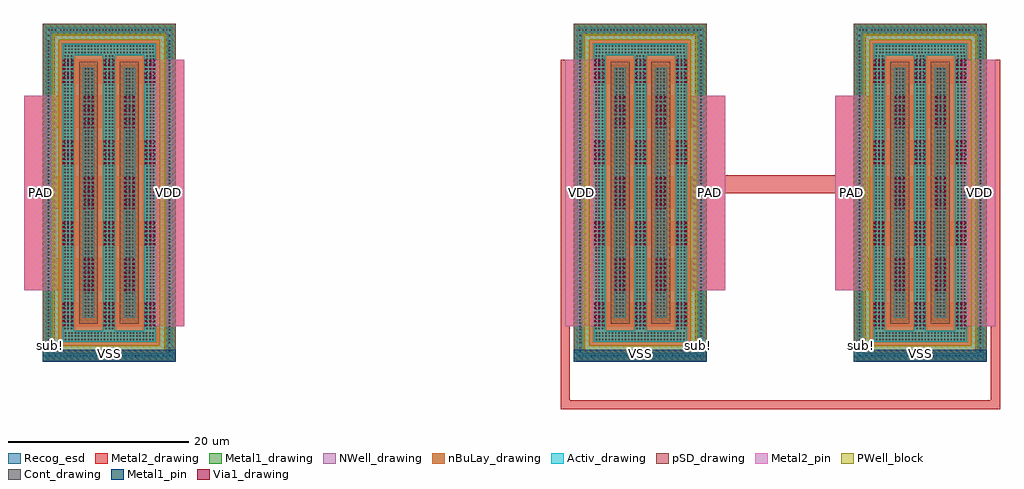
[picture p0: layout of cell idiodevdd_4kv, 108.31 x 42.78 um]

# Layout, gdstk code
import gdstk
lib = gdstk.Library(unit=1e-6, precision=1e-09)
def R(c, l, rs):  # rectangles x0, y0, x1, y1
    for r in rs: c.add(gdstk.rectangle(r[:2], r[2:], *l))
def A(c, l, x, y, w, h, nx, ny, dx, dy):  # array of equal rectangles
    R(c, l, [(x+i*dx, y+j*dy, x+i*dx+w, y+j*dy+h) for i in range(nx) for j in range(ny)])
def P(c, l, *ps):  # polygons
    for p in ps: c.add(gdstk.Polygon(p, *l))
Activ_drawing = (1, 0)
Cont_drawing = (6, 0)
Metal1_drawing = (8, 0)
Metal1_pin = (8, 2)
Metal2_drawing = (10, 0)
Metal2_pin = (10, 2)
pSD_drawing = (14, 0)
Via1_drawing = (19, 0)
NWell_drawing = (31, 0)
nBuLay_drawing = (32, 0)
PWell_block = (46, 21)
Recog_esd = (99, 30)

idiodevdd_4kv = lib.new_cell('idiodevdd_4kv')
R(idiodevdd_4kv, Activ_drawing, [(4.47,4.89,5.73,32.67), (9,4.89,10.26,32.67), (63.462,4.89,64.722,32.67), (67.992,4.89,69.252,32.67), (94.47,4.89,95.73,32.67), (99,4.89,100.26,32.67)])
P(idiodevdd_4kv, Activ_drawing, [(61.172,2.22),(61.172,35.31),(71.502,35.31),(71.502,3.48),(70.242,3.48),(70.242,34.05),(66.972,34.05),(66.972,3.48),(65.712,3.48),(65.712,34.05),(62.432,34.05),(62.432,3.48),(71.502,3.48),(71.502,2.22)],
  [(59.342,0.45),(59.342,37.08),(73.302,37.08),(73.302,0.93),(72.822,0.93),(72.822,36.6),(59.822,36.6),(59.822,0.93),(73.302,0.93),(73.302,0.45)],
  [(92.22,2.22),(92.22,3.48),(101.29,3.48),(101.29,34.05),(98.01,34.05),(98.01,3.48),(96.75,3.48),(96.75,34.05),(93.48,34.05),(93.48,3.48),(92.22,3.48),(92.22,35.31),(102.55,35.31),(102.55,2.22)],
  [(90.42,0.45),(90.42,0.93),(103.9,0.93),(103.9,36.6),(90.9,36.6),(90.9,0.93),(90.42,0.93),(90.42,37.08),(104.38,37.08),(104.38,0.45)],
  [(2.22,2.22),(2.22,3.48),(11.29,3.48),(11.29,34.05),(8.01,34.05),(8.01,3.48),(6.75,3.48),(6.75,34.05),(3.48,34.05),(3.48,3.48),(2.22,3.48),(2.22,35.31),(12.55,35.31),(12.55,2.22)],
  [(0.42,0.45),(0.42,0.93),(13.9,0.93),(13.9,36.6),(0.9,36.6),(0.9,0.93),(0.42,0.93),(0.42,37.08),(14.38,37.08),(14.38,0.45)])
A(idiodevdd_4kv, Cont_drawing, 0.62, 0.61, 0.16, 0.16, 3, 2, 0.36, 36.15)
A(idiodevdd_4kv, Cont_drawing, 1.94, 0.61, 0.16, 0.16, 31, 2, 0.36, 36.15)
A(idiodevdd_4kv, Cont_drawing, 13.34, 0.61, 0.16, 0.16, 3, 2, 0.36, 36.15)
A(idiodevdd_4kv, Cont_drawing, 59.502, 0.61, 0.16, 0.16, 3, 2, 0.36, 36.15)
A(idiodevdd_4kv, Cont_drawing, 60.822, 0.61, 0.16, 0.16, 31, 2, 0.36, 36.15)
A(idiodevdd_4kv, Cont_drawing, 72.222, 0.61, 0.16, 0.16, 3, 2, 0.36, 36.15)
A(idiodevdd_4kv, Cont_drawing, 90.62, 0.61, 0.16, 0.16, 3, 2, 0.36, 36.15)
A(idiodevdd_4kv, Cont_drawing, 91.94, 0.61, 0.16, 0.16, 31, 2, 0.36, 36.15)
A(idiodevdd_4kv, Cont_drawing, 103.34, 0.61, 0.16, 0.16, 3, 2, 0.36, 36.15)
A(idiodevdd_4kv, Cont_drawing, 0.58, 2.065, 0.16, 0.16, 1, 94, 0, 0.36)
A(idiodevdd_4kv, Cont_drawing, 14.02, 2.065, 0.16, 0.16, 1, 94, 0, 0.36)
A(idiodevdd_4kv, Cont_drawing, 59.542, 2.065, 0.16, 0.16, 1, 94, 0, 0.36)
A(idiodevdd_4kv, Cont_drawing, 72.982, 2.065, 0.16, 0.16, 1, 94, 0, 0.36)
A(idiodevdd_4kv, Cont_drawing, 90.58, 2.065, 0.16, 0.16, 1, 94, 0, 0.36)
A(idiodevdd_4kv, Cont_drawing, 104.02, 2.065, 0.16, 0.16, 1, 94, 0, 0.36)
A(idiodevdd_4kv, Cont_drawing, 2.475, 2.43, 0.16, 0.16, 28, 3, 0.36, 0.36)
A(idiodevdd_4kv, Cont_drawing, 61.367, 2.43, 0.16, 0.16, 28, 3, 0.36, 0.36)
A(idiodevdd_4kv, Cont_drawing, 92.475, 2.43, 0.16, 0.16, 28, 3, 0.36, 0.36)
A(idiodevdd_4kv, Cont_drawing, 2.405, 3.645, 0.16, 0.16, 3, 85, 0.36, 0.36)
A(idiodevdd_4kv, Cont_drawing, 6.965, 3.645, 0.16, 0.16, 3, 85, 0.36, 0.36)
A(idiodevdd_4kv, Cont_drawing, 11.525, 3.645, 0.16, 0.16, 3, 85, 0.36, 0.36)
A(idiodevdd_4kv, Cont_drawing, 61.317, 3.645, 0.16, 0.16, 3, 85, 0.36, 0.36)
A(idiodevdd_4kv, Cont_drawing, 65.877, 3.645, 0.16, 0.16, 3, 85, 0.36, 0.36)
A(idiodevdd_4kv, Cont_drawing, 70.437, 3.645, 0.16, 0.16, 3, 85, 0.36, 0.36)
A(idiodevdd_4kv, Cont_drawing, 92.405, 3.645, 0.16, 0.16, 3, 85, 0.36, 0.36)
A(idiodevdd_4kv, Cont_drawing, 96.965, 3.645, 0.16, 0.16, 3, 85, 0.36, 0.36)
A(idiodevdd_4kv, Cont_drawing, 101.525, 3.645, 0.16, 0.16, 3, 85, 0.36, 0.36)
A(idiodevdd_4kv, Cont_drawing, 4.68, 5.05, 0.16, 0.16, 3, 77, 0.36, 0.36)
A(idiodevdd_4kv, Cont_drawing, 9.21, 5.05, 0.16, 0.16, 3, 77, 0.36, 0.36)
A(idiodevdd_4kv, Cont_drawing, 63.632, 5.05, 0.16, 0.16, 3, 77, 0.36, 0.36)
A(idiodevdd_4kv, Cont_drawing, 68.162, 5.05, 0.16, 0.16, 3, 77, 0.36, 0.36)
A(idiodevdd_4kv, Cont_drawing, 94.68, 5.05, 0.16, 0.16, 3, 77, 0.36, 0.36)
A(idiodevdd_4kv, Cont_drawing, 99.21, 5.05, 0.16, 0.16, 3, 77, 0.36, 0.36)
A(idiodevdd_4kv, Cont_drawing, 2.475, 34.26, 0.16, 0.16, 28, 3, 0.36, 0.36)
A(idiodevdd_4kv, Cont_drawing, 61.367, 34.26, 0.16, 0.16, 28, 3, 0.36, 0.36)
A(idiodevdd_4kv, Cont_drawing, 92.475, 34.26, 0.16, 0.16, 28, 3, 0.36, 0.36)
R(idiodevdd_4kv, Cont_drawing, [(0.58,1.105,0.74,1.265), (14.02,1.105,14.18,1.265), (59.542,1.105,59.702,1.265), (72.982,1.105,73.142,1.265), (90.58,1.105,90.74,1.265), (104.02,1.105,104.18,1.265), (0.58,1.465,0.74,1.625), (14.02,1.465,14.18,1.625), (59.542,1.465,59.702,1.625), (72.982,1.465,73.142,1.625), (90.58,1.465,90.74,1.625), (104.02,1.465,104.18,1.625), (0.58,36.145,0.74,36.305), (14.02,36.145,14.18,36.305), (59.542,36.145,59.702,36.305), (72.982,36.145,73.142,36.305), (90.58,36.145,90.74,36.305), (104.02,36.145,104.18,36.305)])
R(idiodevdd_4kv, Metal1_drawing, [(4.2,4.59,6,32.94), (8.73,4.59,10.53,32.94), (63.192,4.59,64.992,32.94), (67.722,4.59,69.522,32.94), (94.2,4.59,96,32.94), (98.73,4.59,100.53,32.94)])
P(idiodevdd_4kv, Metal1_drawing, [(61.022,2.13),(61.022,35.4),(71.652,35.4),(71.652,3.54),(70.122,3.54),(70.122,33.99),(67.122,33.99),(67.122,3.54),(65.562,3.54),(65.562,33.99),(62.582,33.99),(62.582,3.54),(71.652,3.54),(71.652,2.13)],
  [(58.922,0),(58.922,37.53),(73.722,37.53),(73.722,1.35),(72.372,1.35),(72.372,36.18),(60.242,36.18),(60.242,1.35),(73.722,1.35),(73.722,0)],
  [(92.07,2.13),(92.07,3.54),(101.14,3.54),(101.14,33.99),(98.16,33.99),(98.16,3.54),(96.6,3.54),(96.6,33.99),(93.6,33.99),(93.6,3.54),(92.07,3.54),(92.07,35.4),(102.7,35.4),(102.7,2.13)],
  [(90,0),(90,1.35),(103.48,1.35),(103.48,36.18),(91.35,36.18),(91.35,1.35),(90,1.35),(90,37.53),(104.8,37.53),(104.8,0)],
  [(2.07,2.13),(2.07,3.54),(11.14,3.54),(11.14,33.99),(8.16,33.99),(8.16,3.54),(6.6,3.54),(6.6,33.99),(3.6,33.99),(3.6,3.54),(2.07,3.54),(2.07,35.4),(12.7,35.4),(12.7,2.13)],
  [(0,0),(0,1.35),(13.48,1.35),(13.48,36.18),(1.35,36.18),(1.35,1.35),(0,1.35),(0,37.53),(14.8,37.53),(14.8,0)])
R(idiodevdd_4kv, Metal1_pin, [(0,0,14.8,1.35), (58.922,0,73.722,1.35), (90,0,104.8,1.35)])
P(idiodevdd_4kv, Metal2_drawing, [(57.977,3.955),(57.977,33.555),(71.527,33.555),(71.527,30.955),(61.622,30.955),(61.622,24.555),(71.527,24.555),(71.527,21.955),(61.622,21.955),(61.622,15.555),(71.527,15.555),(71.527,12.955),(61.622,12.955),(61.622,6.555),(71.527,6.555),(71.527,3.955)],
  [(63.447,7.915),(63.447,11.475),(63.942,11.475),(63.942,11.535),(72.177,11.535),(72.177,16.975),(69.227,16.975),(69.227,16.915),(67.977,16.915),(67.977,16.975),(64.697,16.975),(64.697,16.915),(63.447,16.915),(63.447,20.475),(63.942,20.475),(63.942,20.535),(72.177,20.535),(72.177,25.975),(69.227,25.975),(69.227,25.915),(67.977,25.915),(67.977,25.975),(64.697,25.975),(64.697,25.915),(63.447,25.915),(63.447,29.475),(63.942,29.475),(63.942,29.535),(75.782,29.535),(75.782,7.975),(69.227,7.975),(69.227,7.915),(67.977,7.915),(67.977,7.975),(64.697,7.975),(64.697,7.915)],
  [(92.195,3.955),(92.195,6.555),(102.1,6.555),(102.1,12.955),(92.195,12.955),(92.195,15.555),(102.1,15.555),(102.1,21.955),(92.195,21.955),(92.195,24.555),(102.1,24.555),(102.1,30.955),(92.195,30.955),(92.195,33.555),(105.745,33.555),(105.745,3.955)],
  [(94.495,7.915),(94.495,7.975),(87.94,7.975),(87.94,29.535),(99.78,29.535),(99.78,29.475),(100.275,29.475),(100.275,25.915),(99.025,25.915),(99.025,25.975),(95.745,25.975),(95.745,25.915),(94.495,25.915),(94.495,25.975),(91.545,25.975),(91.545,20.535),(99.78,20.535),(99.78,20.475),(100.275,20.475),(100.275,16.915),(99.025,16.915),(99.025,16.975),(95.745,16.975),(95.745,16.915),(94.495,16.915),(94.495,16.975),(91.545,16.975),(91.545,11.535),(99.78,11.535),(99.78,11.475),(100.275,11.475),(100.275,7.915),(99.025,7.915),(99.025,7.975),(95.745,7.975),(95.745,7.915)],
  [(2.195,3.955),(2.195,6.555),(12.1,6.555),(12.1,12.955),(2.195,12.955),(2.195,15.555),(12.1,15.555),(12.1,21.955),(2.195,21.955),(2.195,24.555),(12.1,24.555),(12.1,30.955),(2.195,30.955),(2.195,33.555),(15.745,33.555),(15.745,3.955)],
  [(4.495,7.915),(4.495,7.975),(-2.06,7.975),(-2.06,29.535),(9.78,29.535),(9.78,29.475),(10.275,29.475),(10.275,25.915),(9.025,25.915),(9.025,25.975),(5.745,25.975),(5.745,25.915),(4.495,25.915),(4.495,25.975),(1.545,25.975),(1.545,20.535),(9.78,20.535),(9.78,20.475),(10.275,20.475),(10.275,16.915),(9.025,16.915),(9.025,16.975),(5.745,16.975),(5.745,16.915),(4.495,16.915),(4.495,16.975),(1.545,16.975),(1.545,11.535),(9.78,11.535),(9.78,11.475),(10.275,11.475),(10.275,7.915),(9.025,7.915),(9.025,7.975),(5.745,7.975),(5.745,7.915)])
R(idiodevdd_4kv, Metal2_pin, [(12.1,3.955,15.745,33.555), (57.977,3.955,61.622,33.555), (102.1,3.955,105.745,33.555), (-2.06,7.975,1.545,29.535), (72.177,7.975,75.782,29.535), (87.94,7.975,91.545,29.535)])
R(idiodevdd_4kv, pSD_drawing, [(4.05,4.23,6.15,33.3), (8.58,4.23,10.68,33.3), (63.042,4.23,65.142,33.3), (67.572,4.23,69.672,33.3), (94.05,4.23,96.15,33.3), (98.58,4.23,100.68,33.3)])
P(idiodevdd_4kv, pSD_drawing, [(58.922,0),(58.922,37.53),(73.722,37.53),(73.722,1.35),(72.372,1.35),(72.372,36.18),(60.242,36.18),(60.242,1.35),(73.722,1.35),(73.722,0)],
  [(90,0),(90,1.35),(103.48,1.35),(103.48,36.18),(91.35,36.18),(91.35,1.35),(90,1.35),(90,37.53),(104.8,37.53),(104.8,0)],
  [(0,0),(0,1.35),(13.48,1.35),(13.48,36.18),(1.35,36.18),(1.35,1.35),(0,1.35),(0,37.53),(14.8,37.53),(14.8,0)])
A(idiodevdd_4kv, Via1_drawing, 2.245, 3.96, 0.19, 0.19, 3, 6, 0.48, 0.48)
A(idiodevdd_4kv, Via1_drawing, 6.805, 3.96, 0.19, 0.19, 3, 6, 0.48, 0.48)
A(idiodevdd_4kv, Via1_drawing, 11.365, 3.96, 0.19, 0.19, 3, 6, 0.48, 0.48)
A(idiodevdd_4kv, Via1_drawing, 61.207, 3.96, 0.19, 0.19, 3, 6, 0.48, 0.48)
A(idiodevdd_4kv, Via1_drawing, 65.767, 3.96, 0.19, 0.19, 3, 6, 0.48, 0.48)
A(idiodevdd_4kv, Via1_drawing, 70.327, 3.96, 0.19, 0.19, 3, 6, 0.48, 0.48)
A(idiodevdd_4kv, Via1_drawing, 92.245, 3.96, 0.19, 0.19, 3, 6, 0.48, 0.48)
A(idiodevdd_4kv, Via1_drawing, 96.805, 3.96, 0.19, 0.19, 3, 6, 0.48, 0.48)
A(idiodevdd_4kv, Via1_drawing, 101.365, 3.96, 0.19, 0.19, 3, 6, 0.48, 0.48)
A(idiodevdd_4kv, Via1_drawing, 4.545, 7.92, 0.19, 0.19, 3, 8, 0.48, 0.48)
A(idiodevdd_4kv, Via1_drawing, 9.075, 7.92, 0.19, 0.19, 3, 8, 0.48, 0.48)
A(idiodevdd_4kv, Via1_drawing, 63.497, 7.92, 0.19, 0.19, 3, 8, 0.48, 0.48)
A(idiodevdd_4kv, Via1_drawing, 68.027, 7.92, 0.19, 0.19, 3, 8, 0.48, 0.48)
A(idiodevdd_4kv, Via1_drawing, 94.545, 7.92, 0.19, 0.19, 3, 8, 0.48, 0.48)
A(idiodevdd_4kv, Via1_drawing, 99.075, 7.92, 0.19, 0.19, 3, 8, 0.48, 0.48)
A(idiodevdd_4kv, Via1_drawing, 2.245, 12.96, 0.19, 0.19, 3, 6, 0.48, 0.48)
A(idiodevdd_4kv, Via1_drawing, 6.805, 12.96, 0.19, 0.19, 3, 6, 0.48, 0.48)
A(idiodevdd_4kv, Via1_drawing, 11.365, 12.96, 0.19, 0.19, 3, 6, 0.48, 0.48)
A(idiodevdd_4kv, Via1_drawing, 61.207, 12.96, 0.19, 0.19, 3, 6, 0.48, 0.48)
A(idiodevdd_4kv, Via1_drawing, 65.767, 12.96, 0.19, 0.19, 3, 6, 0.48, 0.48)
A(idiodevdd_4kv, Via1_drawing, 70.327, 12.96, 0.19, 0.19, 3, 6, 0.48, 0.48)
A(idiodevdd_4kv, Via1_drawing, 92.245, 12.96, 0.19, 0.19, 3, 6, 0.48, 0.48)
A(idiodevdd_4kv, Via1_drawing, 96.805, 12.96, 0.19, 0.19, 3, 6, 0.48, 0.48)
A(idiodevdd_4kv, Via1_drawing, 101.365, 12.96, 0.19, 0.19, 3, 6, 0.48, 0.48)
A(idiodevdd_4kv, Via1_drawing, 4.545, 16.92, 0.19, 0.19, 3, 8, 0.48, 0.48)
A(idiodevdd_4kv, Via1_drawing, 9.075, 16.92, 0.19, 0.19, 3, 8, 0.48, 0.48)
A(idiodevdd_4kv, Via1_drawing, 63.497, 16.92, 0.19, 0.19, 3, 8, 0.48, 0.48)
A(idiodevdd_4kv, Via1_drawing, 68.027, 16.92, 0.19, 0.19, 3, 8, 0.48, 0.48)
A(idiodevdd_4kv, Via1_drawing, 94.545, 16.92, 0.19, 0.19, 3, 8, 0.48, 0.48)
A(idiodevdd_4kv, Via1_drawing, 99.075, 16.92, 0.19, 0.19, 3, 8, 0.48, 0.48)
A(idiodevdd_4kv, Via1_drawing, 2.245, 21.96, 0.19, 0.19, 3, 6, 0.48, 0.48)
A(idiodevdd_4kv, Via1_drawing, 6.805, 21.96, 0.19, 0.19, 3, 6, 0.48, 0.48)
A(idiodevdd_4kv, Via1_drawing, 11.365, 21.96, 0.19, 0.19, 3, 6, 0.48, 0.48)
A(idiodevdd_4kv, Via1_drawing, 61.207, 21.96, 0.19, 0.19, 3, 6, 0.48, 0.48)
A(idiodevdd_4kv, Via1_drawing, 65.767, 21.96, 0.19, 0.19, 3, 6, 0.48, 0.48)
A(idiodevdd_4kv, Via1_drawing, 70.327, 21.96, 0.19, 0.19, 3, 6, 0.48, 0.48)
A(idiodevdd_4kv, Via1_drawing, 92.245, 21.96, 0.19, 0.19, 3, 6, 0.48, 0.48)
A(idiodevdd_4kv, Via1_drawing, 96.805, 21.96, 0.19, 0.19, 3, 6, 0.48, 0.48)
A(idiodevdd_4kv, Via1_drawing, 101.365, 21.96, 0.19, 0.19, 3, 6, 0.48, 0.48)
A(idiodevdd_4kv, Via1_drawing, 4.545, 25.92, 0.19, 0.19, 3, 8, 0.48, 0.48)
A(idiodevdd_4kv, Via1_drawing, 9.075, 25.92, 0.19, 0.19, 3, 8, 0.48, 0.48)
A(idiodevdd_4kv, Via1_drawing, 63.497, 25.92, 0.19, 0.19, 3, 8, 0.48, 0.48)
A(idiodevdd_4kv, Via1_drawing, 68.027, 25.92, 0.19, 0.19, 3, 8, 0.48, 0.48)
A(idiodevdd_4kv, Via1_drawing, 94.545, 25.92, 0.19, 0.19, 3, 8, 0.48, 0.48)
A(idiodevdd_4kv, Via1_drawing, 99.075, 25.92, 0.19, 0.19, 3, 8, 0.48, 0.48)
A(idiodevdd_4kv, Via1_drawing, 2.245, 30.96, 0.19, 0.19, 3, 6, 0.48, 0.48)
A(idiodevdd_4kv, Via1_drawing, 6.805, 30.96, 0.19, 0.19, 3, 6, 0.48, 0.48)
A(idiodevdd_4kv, Via1_drawing, 11.365, 30.96, 0.19, 0.19, 3, 6, 0.48, 0.48)
A(idiodevdd_4kv, Via1_drawing, 61.207, 30.96, 0.19, 0.19, 3, 6, 0.48, 0.48)
A(idiodevdd_4kv, Via1_drawing, 65.767, 30.96, 0.19, 0.19, 3, 6, 0.48, 0.48)
A(idiodevdd_4kv, Via1_drawing, 70.327, 30.96, 0.19, 0.19, 3, 6, 0.48, 0.48)
A(idiodevdd_4kv, Via1_drawing, 92.245, 30.96, 0.19, 0.19, 3, 6, 0.48, 0.48)
A(idiodevdd_4kv, Via1_drawing, 96.805, 30.96, 0.19, 0.19, 3, 6, 0.48, 0.48)
A(idiodevdd_4kv, Via1_drawing, 101.365, 30.96, 0.19, 0.19, 3, 6, 0.48, 0.48)
R(idiodevdd_4kv, NWell_drawing, [(1.8,1.8,13.03,35.73), (60.692,1.8,71.922,35.73), (91.8,1.8,103.03,35.73)])
R(idiodevdd_4kv, nBuLay_drawing, [(1.8,1.8,13.03,35.73), (60.692,1.8,71.922,35.73), (91.8,1.8,103.03,35.73)])
P(idiodevdd_4kv, PWell_block, [(60.062,1.17),(60.062,36.36),(72.582,36.36),(72.582,1.17),(71.922,1.17),(71.922,35.73),(60.692,35.73),(60.692,1.8),(71.922,1.8),(71.922,1.17)],
  [(91.14,1.17),(91.14,36.36),(103.66,36.36),(103.66,1.17),(91.8,1.17),(91.8,1.8),(103.03,1.8),(103.03,35.73),(91.8,35.73),(91.8,1.17)],
  [(1.14,1.17),(1.14,36.36),(13.66,36.36),(13.66,1.17),(1.8,1.17),(1.8,1.8),(13.03,1.8),(13.03,35.73),(1.8,35.73),(1.8,1.17)])
R(idiodevdd_4kv, Recog_esd, [(0,0,14.8,37.53), (58.922,0,73.722,37.53), (90,0,104.8,37.53)])
idiodevdd_4kv.add(gdstk.FlexPath([(57.977,33.555),(57.977,-4.746),(105.747,-4.746),(105.747,33.555)], 1, ends="flush", simple_path=True, layer=10, datatype=0))  # Metal2_drawing
idiodevdd_4kv.add(gdstk.FlexPath([(88.802,19.714),(74.46,19.714)], 2, ends="flush", simple_path=True, layer=10, datatype=0))  # Metal2_drawing
idiodevdd_4kv.add(gdstk.Label('VSS', (66.322,0.915), layer=63, texttype=0))
idiodevdd_4kv.add(gdstk.Label('PAD', (73.982,18.757), layer=63, texttype=0))
idiodevdd_4kv.add(gdstk.Label('VDD', (59.797,18.753), layer=63, texttype=0))
idiodevdd_4kv.add(gdstk.Label('sub!', (72.822,1.79), layer=63, texttype=0))
idiodevdd_4kv.add(gdstk.Label('idiodevdd_4kv', (62.862,18.49), layer=63, texttype=0))
idiodevdd_4kv.add(gdstk.Label('VSS', (97.4,0.915), layer=63, texttype=0))
idiodevdd_4kv.add(gdstk.Label('PAD', (89.74,18.757), layer=63, texttype=0))
idiodevdd_4kv.add(gdstk.Label('VDD', (103.925,18.753), layer=63, texttype=0))
idiodevdd_4kv.add(gdstk.Label('sub!', (90.9,1.79), layer=63, texttype=0))
idiodevdd_4kv.add(gdstk.Label('idiodevdd_4kv', (100.86,18.49), layer=63, texttype=0))
idiodevdd_4kv.add(gdstk.Label('VSS', (7.4,0.915), layer=63, texttype=0))
idiodevdd_4kv.add(gdstk.Label('PAD', (-0.26,18.757), layer=63, texttype=0))
idiodevdd_4kv.add(gdstk.Label('VDD', (13.925,18.753), layer=63, texttype=0))
idiodevdd_4kv.add(gdstk.Label('sub!', (0.9,1.79), layer=63, texttype=0))
idiodevdd_4kv.add(gdstk.Label('idiodevdd_4kv', (10.86,18.49), layer=63, texttype=0))

lib.write_gds('idiodevdd_4kv.gds')
